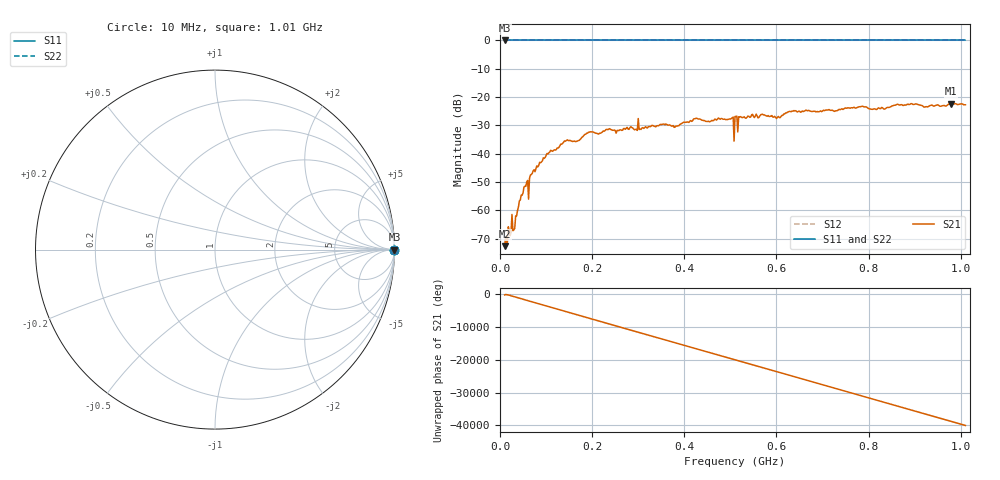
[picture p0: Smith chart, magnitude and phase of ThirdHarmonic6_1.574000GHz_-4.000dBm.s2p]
! 8/16/2025 6:43:08 PM
! C:\ANRITSUVNA\TEMP\TEMP.S2P
! CHANNEL.1
! TR.MEASUREMENT
! RAW.DATA
! RF.CORRECTION.OFF
! AVERAGING.OFF
! IF.BANDWIDTH: 5KHZ
! SWEEPTYPE:  FREQ.SWEEP(Linear)
! Reference Plane Port Info
! PORT:  PORT1  PORT2
! DISTANCE:  0  m  0  m
! TIME:  0  s  0  s
! PHASE.OFFSET:  0  deg.  0  deg.
! LOSS:  0  dB  0  dB
! REF.LOSS:  0  dB  0  dB
! REF.FREQ:  0  Hz  0  Hz
! Power Info
! POWER:  -20  dBm  -20  dBm
! EFF.POWER:  -20  dBm  -20  dBm
! SOURCE.ATTEN:  0  dB  0  dB
! TEST.ATTEN:  0  dB  0  dB
# GHZ S RI R 50.0
! FREQ.GHZ  S11RE  S11IM  S21RE  S21IM  S12RE  S12IM  S22RE  S22IM
!; PortSelection: Port_12
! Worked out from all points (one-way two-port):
!   501 points, 10 MHz to 1.01 GHz, reference 50 ohm
!   highest |S21| = -22.27 dB at 978 MHz (marker M1); lowest = -72.7 dB at 10 MHz (marker M2)
!   lowest |S11| = 0.0 dB at 10 MHz (marker M3)
!   |S11| at or under -10 dB: nowhere
!   |S22| runs from 0.0 to 0.0 dB; largest |S21 - S12| = 1.1
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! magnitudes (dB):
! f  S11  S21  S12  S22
! 10 MHz  0.0  -72.7  0.0  0.0
! 22 MHz  0.0  -69.0  0.0  0.0
! 32 MHz  0.0  -66.3  0.0  0.0
! 50 MHz  0.0  -53.8  0.0  0.0
! 66 MHz  0.0  -47.5  0.0  0.0
! 70 MHz  0.0  -46.9  0.0  0.0
! 106 MHz  0.0  -39.7  0.0  0.0
! 142 MHz  0.0  -35.6  0.0  0.0
! 178 MHz  0.0  -34.2  0.0  0.0
! 196 MHz  0.0  -32.3  0.0  0.0
! 344 MHz  0.0  -30.1  0.0  0.0
! 382 MHz  0.0  -30.2  0.0  0.0
! 424 MHz  0.0  -27.6  0.0  0.0
! 510 MHz  0.0  -26.9  0.0  0.0
! 512 MHz  0.0  -26.8  0.0  0.0
! 522 MHz  0.0  -26.9  0.0  0.0
! 604 MHz  0.0  -26.9  0.0  0.0
! 630 MHz  0.0  -25.1  0.0  0.0
! 678 MHz  0.0  -25.1  0.0  0.0
! 844 MHz  0.0  -23.7  0.0  0.0
! 978 MHz  0.0  -22.3  0.0  0.0
! 1.01 GHz  0.0  -22.7  0.0  0.0
